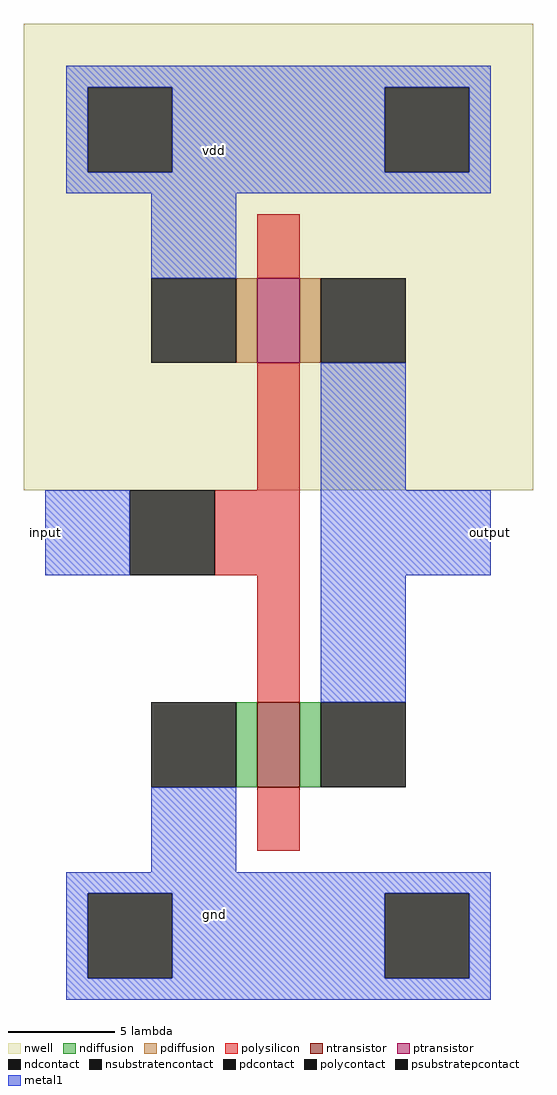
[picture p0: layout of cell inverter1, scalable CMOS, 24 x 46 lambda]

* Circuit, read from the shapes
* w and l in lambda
.subckt inverter1 gnd input output vdd
M1 output input gnd gnd nfet w=4 l=2
M2 output input vdd vdd pfet w=4 l=2
.ends

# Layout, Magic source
magic
tech scmos
<< nwell >>
rect -25 -6 -1 16
<< ntransistor >>
rect -14 -20 -12 -16
<< ptransistor >>
rect -14 0 -12 4
<< ndiffusion >>
rect -15 -20 -14 -16
rect -12 -20 -11 -16
<< pdiffusion >>
rect -15 0 -14 4
rect -12 0 -11 4
<< ndcontact >>
rect -19 -20 -15 -16
rect -11 -20 -7 -16
<< pdcontact >>
rect -19 0 -15 4
rect -11 0 -7 4
<< psubstratepcontact >>
rect -22 -29 -18 -25
rect -8 -29 -4 -25
<< nsubstratencontact >>
rect -22 9 -18 13
rect -8 9 -4 13
<< polysilicon >>
rect -14 4 -12 7
rect -14 -6 -12 0
rect -16 -10 -12 -6
rect -14 -16 -12 -10
rect -14 -23 -12 -20
<< polycontact >>
rect -20 -10 -16 -6
<< metal1 >>
rect -23 13 -3 14
rect -23 9 -22 13
rect -18 9 -8 13
rect -4 9 -3 13
rect -23 8 -3 9
rect -19 4 -15 8
rect -11 -6 -7 0
rect -24 -10 -20 -6
rect -11 -10 -3 -6
rect -11 -16 -7 -10
rect -19 -24 -15 -20
rect -23 -25 -3 -24
rect -23 -29 -22 -25
rect -18 -29 -8 -25
rect -4 -29 -3 -25
rect -23 -30 -3 -29
<< labels >>
rlabel metal1 -16 10 -16 10 1 vdd
rlabel metal1 -16 -26 -16 -26 1 gnd
rlabel metal1 -24 -8 -24 -8 3 input
rlabel metal1 -3 -8 -3 -8 7 output
<< end >>
